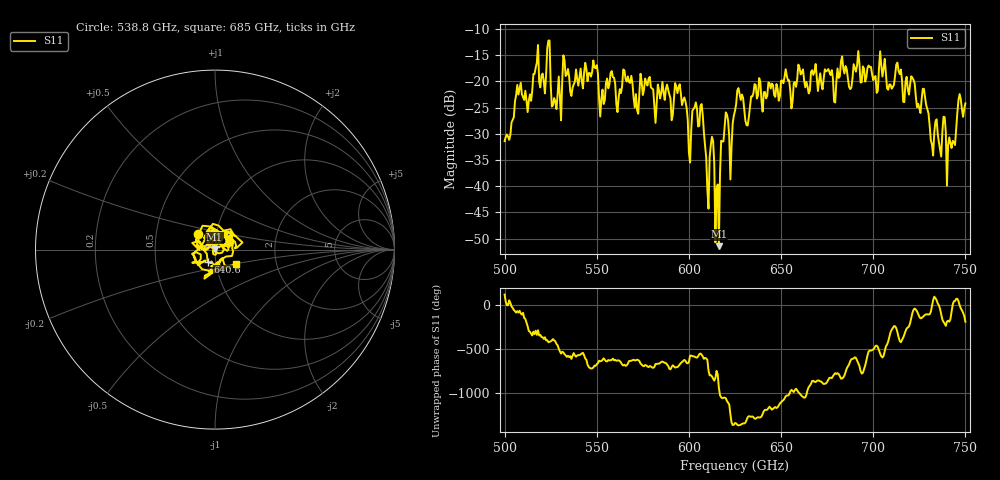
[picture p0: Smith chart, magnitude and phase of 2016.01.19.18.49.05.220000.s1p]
!Created with skrf (http://scikit-rf.org).
# GHz S RI R 50.0
!freq ReS11 ImS11
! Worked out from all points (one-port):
!   401 points, 500 GHz to 750 GHz, reference 50 ohm
!   lowest |S11| = -51.4 dB at 616.2 GHz (marker M1), VSWR 1.01, Z = 49.8 + j0.158 ohm
!   |S11| at or under -10 dB: start of sweep to end of sweep
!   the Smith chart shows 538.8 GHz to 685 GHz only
!   S11 on the Smith chart (normalised r, x): 538.8 GHz: 0.81, +0.14; 640.6 GHz: 0.91, -0.12; 685 GHz: 1.24, -0.20
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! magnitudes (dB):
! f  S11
! 500 GHz  -31.4
! 507.5 GHz  -22.5
! 513.8 GHz  -22.5
! 516.9 GHz  -17.4
! 520.6 GHz  -18.5
! 523.8 GHz  -12.3
! 526.9 GHz  -23.2
! 531.2 GHz  -20.0
! 538.8 GHz  -17.7
! 562.5 GHz  -21.5
! 593.8 GHz  -22.3
! 600 GHz  -33.6
! 606.9 GHz  -24.3
! 610 GHz  -40.6
! 612.5 GHz  -30.6
! 615 GHz  -40.5
! 616.2 GHz  -51.4
! 618.8 GHz  -31.4
! 623.1 GHz  -32.4
! 625 GHz  -25.6
! 640.6 GHz  -22.1
! 656.2 GHz  -23.8
! 685 GHz  -17.1
! 687.5 GHz  -21.5
! 705 GHz  -19.1
! 718.8 GHz  -21.5
! 741.2 GHz  -30.7
! 750 GHz  -24.2
